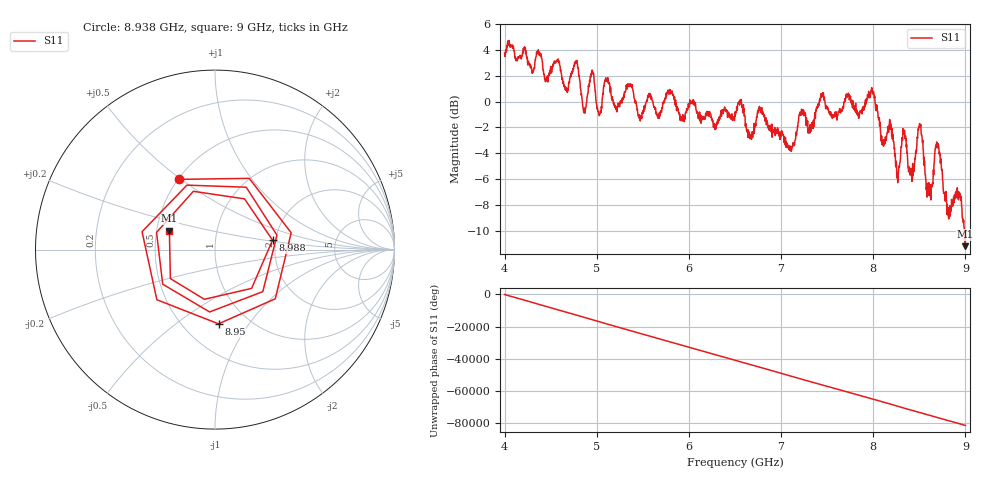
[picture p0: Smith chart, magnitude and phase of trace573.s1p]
! Created with skrf 1.8.0 (http://scikit-rf.org).
# Hz S RI R 50.0
!freq ReS11 ImS11
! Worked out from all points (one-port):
!   1601 points, 4 GHz to 9 GHz, reference 50 ohm
!   lowest |S11| = -11.2 dB at 9 GHz (marker M1), VSWR 1.76, Z = 29.2 + j6.67 ohm
!   |S11| at or under -10 dB: 8.988914 GHz to end of sweep
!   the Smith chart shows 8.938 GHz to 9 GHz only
!   S11 on the Smith chart (normalised r, x): 8.938 GHz: 0.51, +0.49; 8.95 GHz: 0.73, -0.73; 8.988 GHz: 1.93, +0.23; 9 GHz: 0.58, +0.13
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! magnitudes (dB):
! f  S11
! 4 GHz  3.7
! 4.625 GHz  1.8
! 4.775 GHz  3.2
! 4.866 GHz  -0.5
! 4.947 GHz  2.4
! 5.022 GHz  -1.0
! 5.106 GHz  1.7
! 5.25 GHz  -0.4
! 5.875 GHz  -0.6
! 6.5 GHz  -0.8
! 7.125 GHz  -3.5
! 7.219 GHz  -1.1
! 7.75 GHz  0.3
! 7.991 GHz  0.7
! 8.103 GHz  -3.2
! 8.197 GHz  -2.1
! 8.259 GHz  -5.5
! 8.331 GHz  -2.3
! 8.375 GHz  -4.8
! 8.425 GHz  -6.1
! 8.506 GHz  -1.8
! 8.6 GHz  -7.2
! 8.694 GHz  -3.4
! 8.819 GHz  -9.1
! 8.938 GHz  -7.2
! 8.95 GHz  -7.7
! 8.988 GHz  -9.8
! 9 GHz  -11.2
